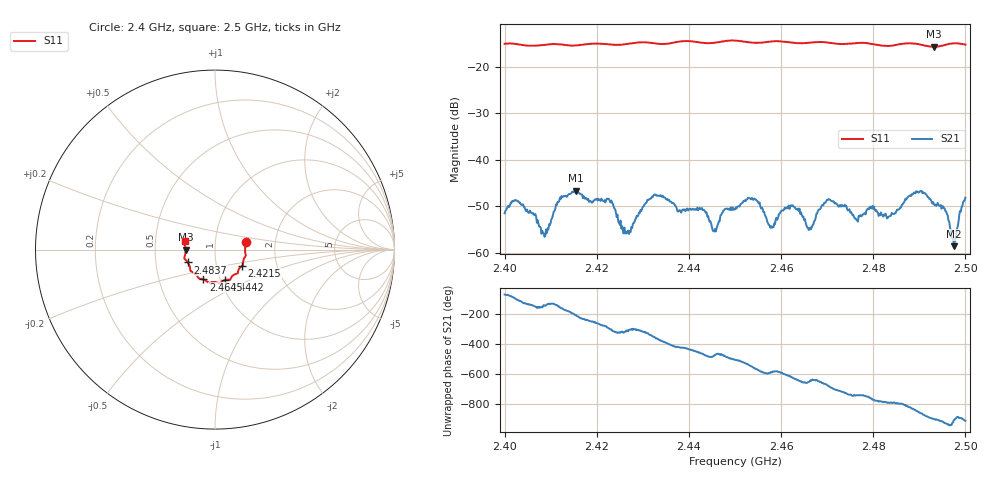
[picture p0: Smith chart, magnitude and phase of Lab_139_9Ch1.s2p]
# Hz S RI R 50
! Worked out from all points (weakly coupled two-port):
!   601 points, 2.4 GHz to 2.5 GHz, reference 50 ohm
!   highest |S21| = -46.66 dB at 2.4155 GHz (marker M1); lowest = -58.6 dB at 2.4975 GHz (marker M2)
!   lowest |S11| = -15.7 dB at 2.4932 GHz (marker M3), VSWR 1.39, Z = 36 - j0.0503 ohm
!   |S11| at or under -10 dB: start of sweep to end of sweep
!   S12 and S22 are empty: the file has one direction only
!   S11 on the Smith chart (normalised r, x): 2.4 GHz: 1.41, +0.12; 2.4215 GHz: 1.33, -0.25; 2.4442 GHz: 1.05, -0.37; 2.4645 GHz: 0.83, -0.29; 2.4837 GHz: 0.73, -0.11; 2.5 GHz: 0.71, +0.07
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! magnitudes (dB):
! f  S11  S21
! 2.4 GHz  -15.1  -51.6
! 2.4028 GHz  -15.2  -48.9
! 2.4087 GHz  -15.3  -56.6
! 2.4155 GHz  -15.4  -46.7
! 2.4167 GHz  -15.3  -47.5
! 2.4215 GHz  -15.1  -49.0
! 2.4267 GHz  -15.1  -55.5
! 2.4333 GHz  -15.1  -47.8
! 2.4442 GHz  -15.0  -52.2
! 2.4457 GHz  -14.9  -54.9
! 2.45 GHz  -14.4  -50.7
! 2.4542 GHz  -14.9  -48.3
! 2.4578 GHz  -14.6  -54.3
! 2.4645 GHz  -15.0  -52.0
! 2.4667 GHz  -14.8  -54.5
! 2.4703 GHz  -14.8  -48.5
! 2.4833 GHz  -15.6  -52.3
! 2.4837 GHz  -15.5  -52.1
! 2.4892 GHz  -15.1  -47.3
! 2.4932 GHz  -15.7  -49.6
! 2.4975 GHz  -15.0  -58.6
! 2.5 GHz  -15.3  -48.2
